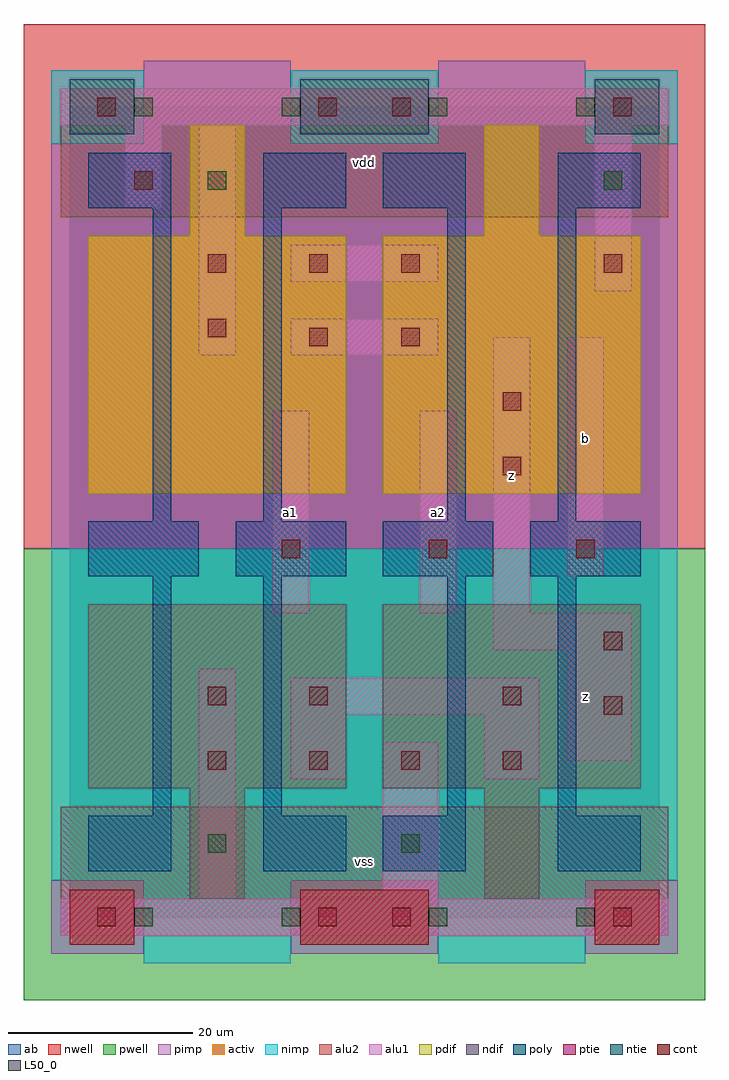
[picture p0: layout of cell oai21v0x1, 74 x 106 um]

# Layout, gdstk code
import gdstk
lib = gdstk.Library(unit=1e-6, precision=1e-09)
def R(c, l, rs):  # rectangles x0, y0, x1, y1
    for r in rs: c.add(gdstk.rectangle(r[:2], r[2:], *l))
def A(c, l, x, y, w, h, nx, ny, dx, dy):  # array of equal rectangles
    R(c, l, [(x+i*dx, y+j*dy, x+i*dx+w, y+j*dy+h) for i in range(nx) for j in range(ny)])
ndif = (3, 0)
pdif = (4, 0)
ntie = (5, 0)
ptie = (6, 0)
cont = (25, 0)
pwell = (41, 0)
nwell = (42, 0)
activ = (43, 0)
pimp = (44, 0)
nimp = (45, 0)
poly = (46, 0)
alu1 = (49, 0)
L50_0 = (50, 0)
alu2 = (51, 0)
ab = (63, 0)

oai21v0x1 = lib.new_cell('oai21v0x1')
R(oai21v0x1, ndif, [(13,2,19,14), (45,2,51,14), (2,14,30,34), (34,14,62,34)])
R(oai21v0x1, pdif, [(2,46,30,74), (34,46,62,74), (13,74,19,86), (45,74,51,86)])
R(oai21v0x1, ntie, [(0,85,7,91), (25,85,39,91), (57,85,64,91)])
R(oai21v0x1, ptie, [(0,-3,7,3), (25,-3,39,3), (57,-3,64,3)])
A(oai21v0x1, cont, 23, 39, 2, 2, 3, 1, 16, 0)
R(oai21v0x1, cont, [(3,-1,5,1), (27,-1,29,1), (35,-1,37,1), (59,-1,61,1), (15,16,17,18), (26,16,28,18), (36,16,38,18), (47,16,49,18), (58,22,60,24), (15,23,17,25), (26,23,28,25), (47,23,49,25), (58,29,60,31), (47,48,49,50), (47,55,49,57), (26,62,28,64), (36,62,38,64), (15,63,17,65), (15,70,17,72), (26,70,28,72), (36,70,38,72), (58,70,60,72), (7,79,9,81), (3,87,5,89), (27,87,29,89), (35,87,37,89), (59,87,61,89)])
R(oai21v0x1, pwell, [(-5,-9,69,40)])
R(oai21v0x1, nwell, [(-5,40,69,97)])
R(oai21v0x1, activ, [(0,-3,7,3), (25,-3,39,3), (57,-3,64,3), (13,2,19,14), (45,2,51,14), (2,14,30,34), (34,14,62,34), (2,46,30,74), (34,46,62,74), (13,74,19,86), (45,74,51,86), (0,85,7,91), (25,85,39,91), (57,85,64,91)])
R(oai21v0x1, pimp, [(-2,-4,8,4), (24,-4,40,4), (56,-4,66,4), (-2,40,66,84), (8,84,24,93), (40,84,56,93)])
R(oai21v0x1, nimp, [(8,-5,24,4), (40,-5,56,4), (-2,4,66,40), (-2,84,8,92), (24,84,40,92), (56,84,66,92)])
A(oai21v0x1, poly, 2, 37, 12, 6, 4, 1, 16, 0)
R(oai21v0x1, poly, [(2,5,11,11), (21,5,30,11), (34,5,43,11), (53,5,62,11), (9,11,11,37), (21,11,23,37), (41,11,43,37), (53,11,55,37), (9,43,11,77), (21,43,23,77), (41,43,43,77), (53,43,55,77), (2,77,11,83), (21,77,30,83), (34,77,43,83), (53,77,62,83)])
R(oai21v0x1, alu1, [(-1,-2,65,2), (14,2,18,27), (34,2,40,19), (24,15,30,22), (45,15,51,22), (54,17,61,29), (24,22,51,26), (46,29,61,33), (22,33,26,55), (38,33,42,55), (46,33,50,63), (54,37,58,63), (14,61,18,86), (24,61,40,65), (57,68,61,86), (24,69,40,73), (6,77,10,86), (-1,86,65,90)])
A(oai21v0x1, L50_0, 7, -1, 2, 2, 4, 2, 16, 88)
R(oai21v0x1, L50_0, [(15,7,17,9), (36,7,38,9), (15,79,17,81), (58,79,60,81)])
R(oai21v0x1, alu2, [(-1,-2,65,12), (-1,76,65,90)])
R(oai21v0x1, ab, [(0,0,64,88)])
oai21v0x1.add(gdstk.Label('a1', (24,44), layer=49, texttype=0))
oai21v0x1.add(gdstk.Label('a2', (40,44), layer=49, texttype=0))
oai21v0x1.add(gdstk.Label('z', (56,24), layer=49, texttype=0))
oai21v0x1.add(gdstk.Label('z', (48,48), layer=49, texttype=0))
oai21v0x1.add(gdstk.Label('b', (56,52), layer=49, texttype=0))
oai21v0x1.add(gdstk.Label('vss', (32,6), layer=51, texttype=0))
oai21v0x1.add(gdstk.Label('vdd', (32,82), layer=51, texttype=0))

lib.write_gds('oai21v0x1.gds')
